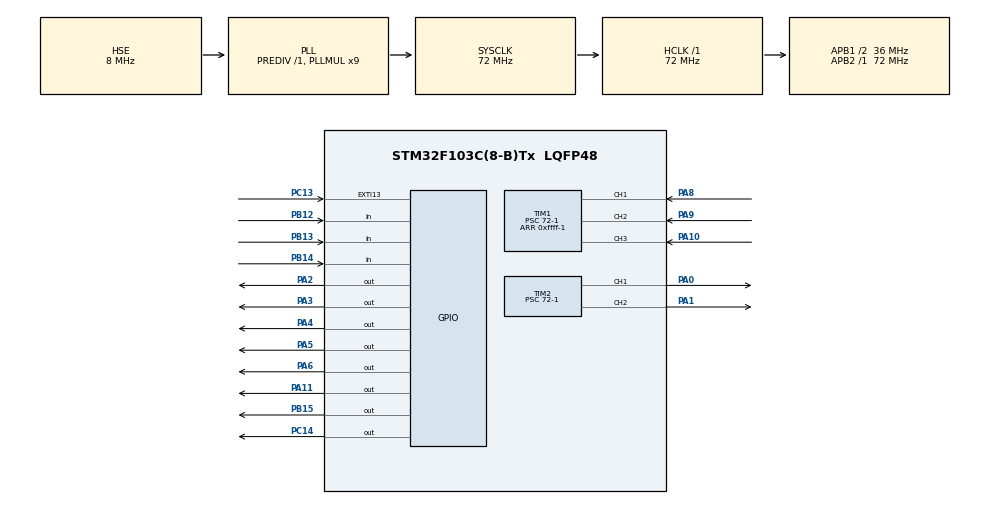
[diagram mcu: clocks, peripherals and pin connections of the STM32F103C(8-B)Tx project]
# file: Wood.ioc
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Mcu.Family=STM32F1
Mcu.Name=STM32F103C(8-B)Tx
Mcu.Package=LQFP48
NVIC.EXTI15_10_IRQn=true\:0\:0\:false\:false\:true\:true\:true
NVIC.PriorityGroup=NVIC_PRIORITYGROUP_2
NVIC.TIM1_CC_IRQn=true\:0\:0\:false\:false\:true\:true\:true
NVIC.TIM2_IRQn=true\:0\:2\:false\:false\:true\:true\:true
PA0-WKUP.Signal=S_TIM2_CH1_ETR
PA1.Signal=S_TIM2_CH2
PA10.Signal=S_TIM1_CH3
PA11.Signal=GPIO_Output
PA13.Mode=Serial_Wire
PA13.Signal=SYS_JTMS-SWDIO
PA14.Mode=Serial_Wire
PA14.Signal=SYS_JTCK-SWCLK
PA2.Signal=GPIO_Output
PA3.Signal=GPIO_Output
PA4.Signal=GPIO_Output
PA5.Signal=GPIO_Output
PA6.Signal=GPIO_Output
PA8.Signal=S_TIM1_CH1
PA9.Signal=S_TIM1_CH2
PB12.GPIO_PuPd=GPIO_PULLUP
PB12.Signal=GPIO_Input
PB13.GPIO_PuPd=GPIO_PULLUP
PB13.Signal=GPIO_Input
PB14.GPIO_PuPd=GPIO_PULLUP
PB14.Signal=GPIO_Input
PB15.Signal=GPIO_Output
PC13-TAMPER-RTC.GPIO_ModeDefaultEXTI=GPIO_MODE_IT_FALLING
PC13-TAMPER-RTC.GPIO_PuPd=GPIO_PULLUP
PC13-TAMPER-RTC.Signal=GPXTI13
PC14-OSC32_IN.Signal=GPIO_Output
PD0-OSC_IN.Mode=HSE-External-Oscillator
PD0-OSC_IN.Signal=RCC_OSC_IN
PD1-OSC_OUT.Mode=HSE-External-Oscillator
PD1-OSC_OUT.Signal=RCC_OSC_OUT
ProjectManager.HeapSize=0x200
ProjectManager.StackSize=0x400
ProjectManager.TargetToolchain=STM32CubeIDE
RCC.AHBFreq_Value=72000000
RCC.APB1CLKDivider=RCC_HCLK_DIV2
RCC.APB1Freq_Value=36000000
RCC.APB1TimFreq_Value=72000000
RCC.APB2Freq_Value=72000000
RCC.APB2TimFreq_Value=72000000
RCC.HCLKFreq_Value=72000000
RCC.PLLMUL=RCC_PLL_MUL9
RCC.PLLSourceVirtual=RCC_PLLSOURCE_HSE
RCC.SYSCLKFreq_VALUE=72000000
RCC.SYSCLKSource=RCC_SYSCLKSOURCE_PLLCLK
RCC.USBFreq_Value=72000000
SH.S_TIM1_CH1.0=TIM1_CH1,Input_Capture1_from_TI1
SH.S_TIM1_CH2.0=TIM1_CH2,Input_Capture2_from_TI2
SH.S_TIM1_CH3.0=TIM1_CH3,Input_Capture3_from_TI3
SH.S_TIM2_CH1_ETR.0=TIM2_CH1,PWM Generation1 CH1
SH.S_TIM2_CH2.0=TIM2_CH2,PWM Generation2 CH2
TIM1.Channel-Input_Capture1_from_TI1=TIM_CHANNEL_1
TIM1.Channel-Input_Capture2_from_TI2=TIM_CHANNEL_2
TIM1.Channel-Input_Capture3_from_TI3=TIM_CHANNEL_3
TIM1.Period=0xffff-1
TIM1.Prescaler=72-1
TIM2.Channel-PWM\ Generation1\ CH1=TIM_CHANNEL_1
TIM2.Channel-PWM\ Generation2\ CH2=TIM_CHANNEL_2
TIM2.Period=1000-1
TIM2.Prescaler=72-1
VP_TIM2_VS_ClockSourceINT.Mode=Internal
board=custom

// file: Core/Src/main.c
/* USER CODE BEGIN Header */
/**
  ******************************************************************************
  * @file           : main.c
  * @brief          : Main program body
  ******************************************************************************
  * @attention
  *
  * <h2><center>&copy; Copyright (c) 2023 STMicroelectronics.
  * All rights reserved.</center></h2>
  *
  * This software component is licensed by ST under BSD 3-Clause license,
  * the "License"; You may not use this file except in compliance with the
  * License. You may obtain a copy of the License at:
  *                        opensource.org/licenses/BSD-3-Clause
  *
  ******************************************************************************
  */
/* USER CODE END Header */
#include "main.h"

/* USER CODE BEGIN Includes */
#include "Control.h"
#include "ReadSensor.h"
/* USER CODE END Includes */

TIM_HandleTypeDef htim1;
TIM_HandleTypeDef htim2;

void SystemClock_Config(void);
static void MX_GPIO_Init(void);
static void MX_TIM1_Init(void);
static void MX_TIM2_Init(void);

/* USER CODE BEGIN 0 */
extern uint32_t leftSensor;
extern uint32_t rightSensor;
extern uint32_t frontSensor;

int leftSpeed ;
int rightSpeed ;
int a = 0;
int exception = 0;
int Md = 1;
//----------------------------------------------------

//------------ bam phai -------------
void backWardRight(void){
	while(frontSensor < 300) {
		leftMotor(-25);
		rightMotor(80);
		HAL_Delay(20);
		}
}
void turnLeft(void){
	while(frontSensor < 250) {
		leftMotor(-30);
		rightMotor(80);
		HAL_Delay(100);
		}
}

//------------ bam trai  -------------

void backWardLeft(void){
	while(frontSensor < 250) {
		leftMotor(70);
		rightMotor(-25);
		HAL_Delay(10);
		}
}

void turnRight(void){
	while(frontSensor < 250) {
		leftMotor(60);
		rightMotor(-60);
		HAL_Delay(100);
		}
}
//----------------------------------------------------
void stop (void){
	leftMotor(0);
	rightMotor(0);
}

int limited(int value, int min, int max){
	if (value >= max){
		value = max;
		return value;
	}
	else if (value <= -min){
		value = -min;
		return value;
	}
	return value;
}
int fillter(int lrE){
	if(lrE > -3 && lrE <3 ){
		return 0;
	}
	else
		return lrE;
}
void mode0(void){
	// bam phai

	int rE = (int)rightSensor - 50;
	rE = constrain(rE, -27, 27);
	if ( frontSensor > 140){
		leftSpeed = 50 + rE;
		rightSpeed = 50 - rE;
	}

	else if (frontSensor <= 60 && leftSensor < 140 && rightSensor < 110){
		backWardRight();
	}
	else if (frontSensor <= 70 && rightSensor < 110){
		turnLeft();
	}

	leftMotor(leftSpeed);
	rightMotor(rightSpeed);
}

void mode1(){
	// bam trai

	int lE = (int)leftSensor - 55;
	lE = constrain(lE, -25, 25);
	if ( frontSensor > 140){
		leftSpeed = 50 - lE;
		rightSpeed = 50 + lE;
	}

	else if (frontSensor <= 60 && leftSensor < 110 && rightSensor < 140){
		backWardLeft();
	}
	else if (frontSensor <= 60 && leftSensor < 110){
		turnRight();
	}

	leftMotor(leftSpeed);
	rightMotor(rightSpeed);
}

int readMode(){
	int mode = 0;
	if (HAL_GPIO_ReadPin(GPIOB, GPIO_PIN_12)){
		mode |= (1 << 2);
	}
	if (HAL_GPIO_ReadPin(GPIOB, GPIO_PIN_13)){
		mode |= (1 << 1);
	}
	if (HAL_GPIO_ReadPin(GPIOB, GPIO_PIN_14)){
		mode |= (1 << 0);
	}
	return mode;
}

void checkWall( int Md){
	while(HAL_GPIO_ReadPin(GPIOC, GPIO_PIN_13) == 0){
		stop();
		HAL_Delay(1000);
		if(Md == 0 ){
			while(frontSensor < 250) {
				leftMotor(-50);
				rightMotor(50);
				HAL_Delay(500);
				}
		}
		else if (Md  ==1){
			turnRight();
		}
	}
}

void HAL_GPIO_EXTI_Callback(uint16_t GPIO_Pin)
{
 if (GPIO_Pin == GPIO_PIN_13)
 {
		stop();
		if(Md == 0 ){
			for( int i = 0; i <17999; i++){
					leftMotor(-60);
					rightMotor(30);
			}
		stop();
		}
		else if (Md  ==1){
			stop();
			for( int i = 0; i <17999; i++){
					leftMotor(30);
					rightMotor(-60);
			}
			stop();
		}
 }

}
/* USER CODE END 0 */

int main(void)
{

  /* MCU Configuration--------------------------------------------------------*/

  /* Reset of all peripherals, Initializes the Flash interface and the Systick. */
  HAL_Init();

  /* Configure the system clock */
  SystemClock_Config();

  /* Initialize all configured peripherals */
  MX_GPIO_Init();
  MX_TIM1_Init();
  MX_TIM2_Init();
  /* USER CODE BEGIN 2 */
  HAL_TIM_Base_Start(&htim1);
  HAL_TIM_Base_Start_IT(&htim2);
  HAL_TIM_IC_Start_IT(&htim1, TIM_CHANNEL_1);
  HAL_TIM_IC_Start_IT(&htim1, TIM_CHANNEL_2);
  HAL_TIM_IC_Start_IT(&htim1, TIM_CHANNEL_3);
  HAL_TIM_PWM_Start(&htim2, TIM_CHANNEL_1);
  HAL_TIM_PWM_Start(&htim2, TIM_CHANNEL_2);
  HAL_Delay(1000);

  /* USER CODE END 2 */

  /* Infinite loop */
  while (1)
  {
	  Md = readMode();
	  switch(Md){
	  	  case 0 :
	  		  mode0();
	  		  break;
	  	  case 1:
	  		  mode1();
	  		  break;
	  	  case 2:
	  		  leftSpeed = 50;
	  		  rightSpeed = 50;
	  		leftMotor(leftSpeed);
	  		rightMotor(leftSpeed);
	  		  HAL_Delay(1000);
	  		  turnLeft();

	  		  break;

	  }
  }
}

void SystemClock_Config(void)
{
  RCC_OscInitTypeDef RCC_OscInitStruct = {0};
  RCC_ClkInitTypeDef RCC_ClkInitStruct = {0};

  /** Initializes the RCC Oscillators according to the specified parameters
  * in the RCC_OscInitTypeDef structure.
  */
  RCC_OscInitStruct.OscillatorType = RCC_OSCILLATORTYPE_HSE;
  RCC_OscInitStruct.HSEState = RCC_HSE_ON;
  RCC_OscInitStruct.HSEPredivValue = RCC_HSE_PREDIV_DIV1;
  RCC_OscInitStruct.HSIState = RCC_HSI_ON;
  RCC_OscInitStruct.PLL.PLLState = RCC_PLL_ON;
  RCC_OscInitStruct.PLL.PLLSource = RCC_PLLSOURCE_HSE;
  RCC_OscInitStruct.PLL.PLLMUL = RCC_PLL_MUL9;
  if (HAL_RCC_OscConfig(&RCC_OscInitStruct) != HAL_OK)
  {
    Error_Handler();
  }
  /** Initializes the CPU, AHB and APB buses clocks
  */
  RCC_ClkInitStruct.ClockType = RCC_CLOCKTYPE_HCLK|RCC_CLOCKTYPE_SYSCLK
                              |RCC_CLOCKTYPE_PCLK1|RCC_CLOCKTYPE_PCLK2;
  RCC_ClkInitStruct.SYSCLKSource = RCC_SYSCLKSOURCE_PLLCLK;
  RCC_ClkInitStruct.AHBCLKDivider = RCC_SYSCLK_DIV1;
  RCC_ClkInitStruct.APB1CLKDivider = RCC_HCLK_DIV2;
  RCC_ClkInitStruct.APB2CLKDivider = RCC_HCLK_DIV1;

  if (HAL_RCC_ClockConfig(&RCC_ClkInitStruct, FLASH_LATENCY_2) != HAL_OK)
  {
    Error_Handler();
  }
}

static void MX_TIM1_Init(void)
{

  TIM_MasterConfigTypeDef sMasterConfig = {0};
  TIM_IC_InitTypeDef sConfigIC = {0};

  htim1.Instance = TIM1;
  htim1.Init.Prescaler = 72-1;
  htim1.Init.CounterMode = TIM_COUNTERMODE_UP;
  htim1.Init.Period = 0xffff-1;
  htim1.Init.ClockDivision = TIM_CLOCKDIVISION_DIV1;
  htim1.Init.RepetitionCounter = 0;
  htim1.Init.AutoReloadPreload = TIM_AUTORELOAD_PRELOAD_DISABLE;
  if (HAL_TIM_IC_Init(&htim1) != HAL_OK)
  {
    Error_Handler();
  }
  sMasterConfig.MasterOutputTrigger = TIM_TRGO_RESET;
  sMasterConfig.MasterSlaveMode = TIM_MASTERSLAVEMODE_DISABLE;
  if (HAL_TIMEx_MasterConfigSynchronization(&htim1, &sMasterConfig) != HAL_OK)
  {
    Error_Handler();
  }
  sConfigIC.ICPolarity = TIM_INPUTCHANNELPOLARITY_RISING;
  sConfigIC.ICSelection = TIM_ICSELECTION_DIRECTTI;
  sConfigIC.ICPrescaler = TIM_ICPSC_DIV1;
  sConfigIC.ICFilter = 0;
  if (HAL_TIM_IC_ConfigChannel(&htim1, &sConfigIC, TIM_CHANNEL_1) != HAL_OK)
  {
    Error_Handler();
  }
  if (HAL_TIM_IC_ConfigChannel(&htim1, &sConfigIC, TIM_CHANNEL_2) != HAL_OK)
  {
    Error_Handler();
  }
  if (HAL_TIM_IC_ConfigChannel(&htim1, &sConfigIC, TIM_CHANNEL_3) != HAL_OK)
  {
    Error_Handler();
  }

}

static void MX_TIM2_Init(void)
{

  TIM_ClockConfigTypeDef sClockSourceConfig = {0};
  TIM_MasterConfigTypeDef sMasterConfig = {0};
  TIM_OC_InitTypeDef sConfigOC = {0};

  htim2.Instance = TIM2;
  htim2.Init.Prescaler = 72-1;
  htim2.Init.CounterMode = TIM_COUNTERMODE_UP;
  htim2.Init.Period = 1000-1;
  htim2.Init.ClockDivision = TIM_CLOCKDIVISION_DIV1;
  htim2.Init.AutoReloadPreload = TIM_AUTORELOAD_PRELOAD_DISABLE;
  if (HAL_TIM_Base_Init(&htim2) != HAL_OK)
  {
    Error_Handler();
  }
  sClockSourceConfig.ClockSource = TIM_CLOCKSOURCE_INTERNAL;
  if (HAL_TIM_ConfigClockSource(&htim2, &sClockSourceConfig) != HAL_OK)
  {
    Error_Handler();
  }
  if (HAL_TIM_PWM_Init(&htim2) != HAL_OK)
  {
    Error_Handler();
  }
  sMasterConfig.MasterOutputTrigger = TIM_TRGO_RESET;
  sMasterConfig.MasterSlaveMode = TIM_MASTERSLAVEMODE_DISABLE;
  if (HAL_TIMEx_MasterConfigSynchronization(&htim2, &sMasterConfig) != HAL_OK)
  {
    Error_Handler();
  }
  sConfigOC.OCMode = TIM_OCMODE_PWM1;
  sConfigOC.Pulse = 0;
  sConfigOC.OCPolarity = TIM_OCPOLARITY_HIGH;
  sConfigOC.OCFastMode = TIM_OCFAST_DISABLE;
  if (HAL_TIM_PWM_ConfigChannel(&htim2, &sConfigOC, TIM_CHANNEL_1) != HAL_OK)
  {
    Error_Handler();
  }
  if (HAL_TIM_PWM_ConfigChannel(&htim2, &sConfigOC, TIM_CHANNEL_2) != HAL_OK)
  {
    Error_Handler();
  }
  HAL_TIM_MspPostInit(&htim2);

}

static void MX_GPIO_Init(void)
{
  GPIO_InitTypeDef GPIO_InitStruct = {0};

  /* GPIO Ports Clock Enable */
  __HAL_RCC_GPIOC_CLK_ENABLE();
  __HAL_RCC_GPIOD_CLK_ENABLE();
  __HAL_RCC_GPIOA_CLK_ENABLE();
  __HAL_RCC_GPIOB_CLK_ENABLE();

  /*Configure GPIO pin Output Level */
  HAL_GPIO_WritePin(GPIOC, GPIO_PIN_14, GPIO_PIN_RESET);

  /*Configure GPIO pin Output Level */
  HAL_GPIO_WritePin(GPIOA, GPIO_PIN_2|GPIO_PIN_3|GPIO_PIN_4|GPIO_PIN_5
                          |GPIO_PIN_6|GPIO_PIN_11, GPIO_PIN_RESET);

  /*Configure GPIO pin Output Level */
  HAL_GPIO_WritePin(GPIOB, GPIO_PIN_15, GPIO_PIN_RESET);

  /*Configure GPIO pin : PC13 */
  GPIO_InitStruct.Pin = GPIO_PIN_13;
  GPIO_InitStruct.Mode = GPIO_MODE_IT_FALLING;
  GPIO_InitStruct.Pull = GPIO_PULLUP;
  HAL_GPIO_Init(GPIOC, &GPIO_InitStruct);

  /*Configure GPIO pin : PC14 */
  GPIO_InitStruct.Pin = GPIO_PIN_14;
  GPIO_InitStruct.Mode = GPIO_MODE_OUTPUT_PP;
  GPIO_InitStruct.Pull = GPIO_NOPULL;
  GPIO_InitStruct.Speed = GPIO_SPEED_FREQ_LOW;
  HAL_GPIO_Init(GPIOC, &GPIO_InitStruct);

  /*Configure GPIO pins : PA2 PA3 PA4 PA5
                           PA6 PA11 */
  GPIO_InitStruct.Pin = GPIO_PIN_2|GPIO_PIN_3|GPIO_PIN_4|GPIO_PIN_5
                          |GPIO_PIN_6|GPIO_PIN_11;
  GPIO_InitStruct.Mode = GPIO_MODE_OUTPUT_PP;
  GPIO_InitStruct.Pull = GPIO_NOPULL;
  GPIO_InitStruct.Speed = GPIO_SPEED_FREQ_LOW;
  HAL_GPIO_Init(GPIOA, &GPIO_InitStruct);

  /*Configure GPIO pins : PB12 PB13 PB14 */
  GPIO_InitStruct.Pin = GPIO_PIN_12|GPIO_PIN_13|GPIO_PIN_14;
  GPIO_InitStruct.Mode = GPIO_MODE_INPUT;
  GPIO_InitStruct.Pull = GPIO_PULLUP;
  HAL_GPIO_Init(GPIOB, &GPIO_InitStruct);

  /*Configure GPIO pin : PB15 */
  GPIO_InitStruct.Pin = GPIO_PIN_15;
  GPIO_InitStruct.Mode = GPIO_MODE_OUTPUT_PP;
  GPIO_InitStruct.Pull = GPIO_NOPULL;
  GPIO_InitStruct.Speed = GPIO_SPEED_FREQ_LOW;
  HAL_GPIO_Init(GPIOB, &GPIO_InitStruct);

  /* EXTI interrupt init*/
  HAL_NVIC_SetPriority(EXTI15_10_IRQn, 0, 0);
  HAL_NVIC_EnableIRQ(EXTI15_10_IRQn);

}

void Error_Handler(void)
{
  __disable_irq();
  while (1)
  {
  }
}

/************************ (C) COPYRIGHT STMicroelectronics *****END OF FILE****/
